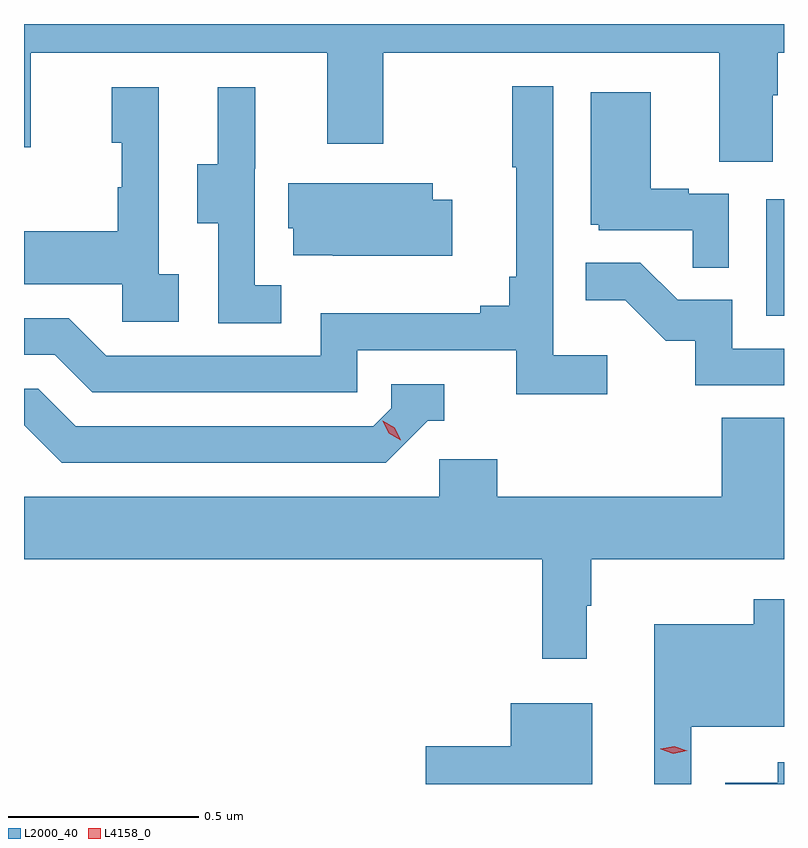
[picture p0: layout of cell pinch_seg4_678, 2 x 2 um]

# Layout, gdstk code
import gdstk
lib = gdstk.Library(unit=1e-6, precision=1e-09)
def R(c, l, rs):  # rectangles x0, y0, x1, y1
    for r in rs: c.add(gdstk.rectangle(r[:2], r[2:], *l))
def P(c, l, *ps):  # polygons
    for p in ps: c.add(gdstk.Polygon(p, *l))
L2000_40 = (2000, 40)
L4158_0 = (4158, 0)

pinch_seg4_678 = lib.new_cell('pinch_seg4_678')
R(pinch_seg4_678, L2000_40, [(1135.058,768.156,1135.105,768.463)])
P(pinch_seg4_678, L2000_40, [(1135.075,768.736),(1135.088,768.736),(1135.088,768.848),(1135.105,768.848),(1135.105,768.924),(1133.105,768.924),(1133.105,768.6),(1133.123,768.6),(1133.123,768.848),(1133.903,768.848),(1133.903,768.609),(1134.051,768.609),(1134.051,768.848),(1134.935,768.848),(1134.935,768.562),(1135.075,768.562)],
  [(1134.64,768.052),(1134.498,768.052),(1134.498,768.76),(1134.39,768.76),(1134.39,768.547),(1134.401,768.547),(1134.401,768.259),(1134.382,768.259),(1134.382,768.182),(1134.305,768.182),(1134.305,768.163),(1133.886,768.163),(1133.886,768.051),(1133.322,768.051),(1133.223,768.15),(1133.105,768.15),(1133.105,768.054),(1133.186,768.054),(1133.285,767.955),(1133.982,767.955),(1133.982,768.066),(1134.401,768.066),(1134.401,767.95),(1134.64,767.95)],
  [(1133.512,768.266),(1133.46,768.266),(1133.46,768.757),(1133.336,768.757),(1133.336,768.612),(1133.362,768.612),(1133.362,768.494),(1133.352,768.494),(1133.352,768.379),(1133.105,768.379),(1133.105,768.239),(1133.364,768.239),(1133.364,768.141),(1133.512,768.141)],
  [(1133.782,768.237),(1133.712,768.237),(1133.712,768.543),(1133.714,768.543),(1133.714,768.757),(1133.615,768.757),(1133.615,768.555),(1133.561,768.555),(1133.561,768.4),(1133.616,768.4),(1133.616,768.136),(1133.782,768.136)],
  [(1134.96,768.477),(1134.854,768.477),(1134.854,768.49),(1134.754,768.49),(1134.754,768.745),(1134.596,768.745),(1134.596,768.396),(1134.618,768.396),(1134.618,768.381),(1134.865,768.381),(1134.865,768.283),(1134.96,768.283)],
  [(1134.232,768.462),(1134.181,768.462),(1134.181,768.505),(1133.801,768.505),(1133.801,768.387),(1133.813,768.387),(1133.813,768.315),(1133.917,768.315),(1133.917,768.314),(1134.232,768.314)],
  [(1135.105,768.069),(1134.969,768.069),(1134.969,768.198),(1134.825,768.198),(1134.727,768.296),(1134.583,768.296),(1134.583,768.197),(1134.687,768.197),(1134.794,768.09),(1134.871,768.09),(1134.871,767.973),(1135.105,767.973)],
  [(1134.168,767.88),(1134.211,767.88),(1134.211,767.976),(1134.072,767.976),(1134.072,767.913),(1134.024,767.865),(1133.241,767.865),(1133.142,767.964),(1133.105,767.964),(1133.105,767.868),(1133.204,767.769),(1134.057,767.769)],
  [(1134.586,767.393),(1134.598,767.393),(1134.598,767.516),(1135.105,767.516),(1135.105,767.888),(1134.941,767.888),(1134.941,767.68),(1134.35,767.68),(1134.35,767.778),(1134.198,767.778),(1134.198,767.68),(1133.105,767.68),(1133.105,767.516),(1134.469,767.516),(1134.469,767.253),(1134.586,767.253)],
  [(1134.861,767.075),(1135.105,767.075),(1135.105,767.41),(1135.026,767.41),(1135.026,767.344),(1134.764,767.344),(1134.764,766.924),(1134.861,766.924)],
  [(1134.601,767.137),(1134.386,767.137),(1134.386,767.024),(1134.162,767.024),(1134.162,766.924),(1134.601,766.924)],
  [(1135.105,766.981),(1135.088,766.981),(1135.088,766.927),(1134.95,766.927),(1134.95,766.924),(1135.105,766.924)])
P(pinch_seg4_678, L4158_0, [(1134.814,767.004),(1134.78,767.016),(1134.779,767.017),(1134.78,767.017),(1134.816,767.024),(1134.851,767.012),(1134.851,767.012),(1134.851,767.012)],
  [(1134.096,767.828),(1134.065,767.847),(1134.049,767.88),(1134.049,767.88),(1134.049,767.88),(1134.08,767.861),(1134.096,767.828),(1134.096,767.828)])

lib.write_gds('pinch_seg4_678.gds')
